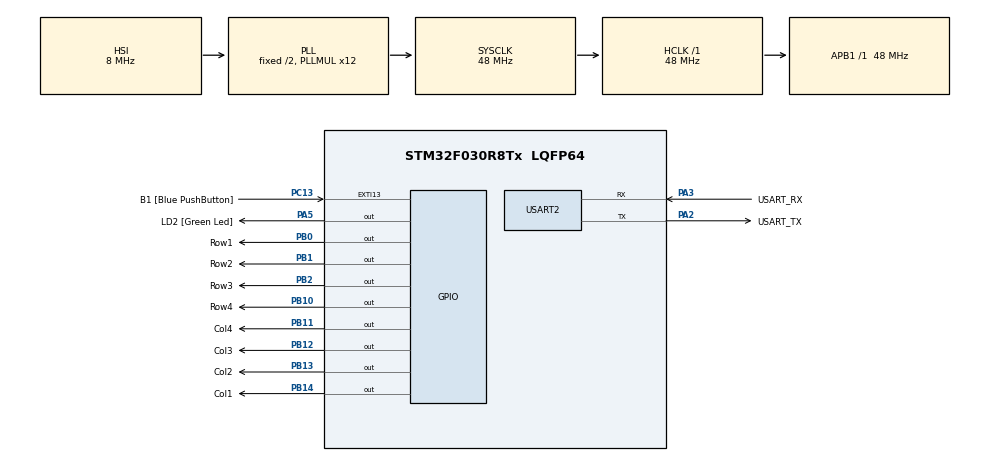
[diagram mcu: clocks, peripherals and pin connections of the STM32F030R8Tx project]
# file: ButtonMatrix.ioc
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Mcu.Family=STM32F0
Mcu.Name=STM32F030R8Tx
Mcu.Package=LQFP64
PA13.GPIO_Label=TMS
PA13.Mode=Serial_Wire
PA13.Signal=SYS_SWDIO
PA14.GPIO_Label=TCK
PA14.Mode=Serial_Wire
PA14.Signal=SYS_SWCLK
PA2.GPIO_Label=USART_TX
PA2.GPIO_Mode=GPIO_MODE_AF_PP
PA2.GPIO_PuPd=GPIO_NOPULL
PA2.GPIO_Speed=GPIO_SPEED_FREQ_LOW
PA2.Mode=Asynchronous
PA2.Signal=USART2_TX
PA3.GPIO_Label=USART_RX
PA3.GPIO_Mode=GPIO_MODE_AF_PP
PA3.GPIO_PuPd=GPIO_NOPULL
PA3.GPIO_Speed=GPIO_SPEED_FREQ_LOW
PA3.Mode=Asynchronous
PA3.Signal=USART2_RX
PA5.GPIO_Label=LD2 [Green Led]
PA5.GPIO_Mode=GPIO_MODE_OUTPUT_PP
PA5.GPIO_PuPd=GPIO_NOPULL
PA5.GPIO_Speed=GPIO_SPEED_FREQ_LOW
PA5.Signal=GPIO_Output
PB0.GPIO_Label=Row1
PB0.Signal=GPIO_Output
PB1.GPIO_Label=Row2
PB1.Signal=GPIO_Output
PB10.GPIO_Label=Row4
PB10.Signal=GPIO_Output
PB11.GPIO_Label=Col4
PB11.Signal=GPIO_Output
PB12.GPIO_Label=Col3
PB12.Signal=GPIO_Output
PB13.GPIO_Label=Col2
PB13.Signal=GPIO_Output
PB14.GPIO_Label=Col1
PB14.Signal=GPIO_Output
PB2.GPIO_Label=Row3
PB2.Signal=GPIO_Output
PC13.GPIO_Label=B1 [Blue PushButton]
PC13.GPIO_ModeDefaultEXTI=GPIO_MODE_IT_FALLING
PC13.Signal=GPXTI13
PC14-OSC32_IN.Mode=LSE-External-Oscillator
PC14-OSC32_IN.Signal=RCC_OSC32_IN
PC15-OSC32_OUT.Mode=LSE-External-Oscillator
PC15-OSC32_OUT.Signal=RCC_OSC32_OUT
PF0-OSC_IN.Mode=HSE-External-Clock-Source
PF0-OSC_IN.Signal=RCC_OSC_IN
PF1-OSC_OUT.Signal=RCC_OSC_OUT
ProjectManager.HeapSize=0x200
ProjectManager.StackSize=0x400
ProjectManager.TargetToolchain=STM32CubeIDE
RCC.AHBFreq_Value=48000000
RCC.APB1Freq_Value=48000000
RCC.APB1TimFreq_Value=48000000
RCC.HCLKFreq_Value=48000000
RCC.PLLMUL=RCC_PLL_MUL12
RCC.SYSCLKFreq_VALUE=48000000
RCC.SYSCLKSource=RCC_SYSCLKSOURCE_PLLCLK
USART2.VirtualMode-Asynchronous=VM_ASYNC
board=NUCLEO-F030R8

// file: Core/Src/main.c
/* USER CODE BEGIN Header */
/**
  ******************************************************************************
  * @file           : main.c
  * @brief          : Main program body
  ******************************************************************************
  * @attention
  *
  * <h2><center>&copy; Copyright (c) 2022 STMicroelectronics.
  * All rights reserved.</center></h2>
  *
  * This software component is licensed by ST under BSD 3-Clause license,
  * the "License"; You may not use this file except in compliance with the
  * License. You may obtain a copy of the License at:
  *                        opensource.org/licenses/BSD-3-Clause
  *
  ******************************************************************************
  */
/* USER CODE END Header */
#include "main.h"

UART_HandleTypeDef huart2;

void SystemClock_Config(void);
static void MX_GPIO_Init(void);
static void MX_USART2_UART_Init(void);

int main(void)
{

  /* MCU Configuration--------------------------------------------------------*/

  /* Reset of all peripherals, Initializes the Flash interface and the Systick. */
  HAL_Init();

  /* Configure the system clock */
  SystemClock_Config();

  /* Initialize all configured peripherals */
  MX_GPIO_Init();
  MX_USART2_UART_Init();
  /* USER CODE BEGIN 2 */
HAL_GPIO_WritePin(GPIOB, Row1_Pin|Row2_Pin|Row3_Pin|Row4_Pin, GPIO_PIN_SET);
HAL_GPIO_WritePin(GPIOB, Col1_Pin|Col2_Pin|Col3_Pin|Col4_Pin, GPIO_PIN_RESET);

uint8_t keyPressed = 0;
HAL_Delay(500);
  /* USER CODE END 2 */

  /* Infinite loop */
  /* USER CODE BEGIN WHILE */
  while (1)
  {
	keyPressed = getKey();
	HAL_Delay(100);
    /* USER CODE END WHILE */

  }
}

void SystemClock_Config(void)
{
  RCC_OscInitTypeDef RCC_OscInitStruct = {0};
  RCC_ClkInitTypeDef RCC_ClkInitStruct = {0};

  /** Initializes the RCC Oscillators according to the specified parameters
  * in the RCC_OscInitTypeDef structure.
  */
  RCC_OscInitStruct.OscillatorType = RCC_OSCILLATORTYPE_HSI;
  RCC_OscInitStruct.HSIState = RCC_HSI_ON;
  RCC_OscInitStruct.HSICalibrationValue = RCC_HSICALIBRATION_DEFAULT;
  RCC_OscInitStruct.PLL.PLLState = RCC_PLL_ON;
  RCC_OscInitStruct.PLL.PLLSource = RCC_PLLSOURCE_HSI;
  RCC_OscInitStruct.PLL.PLLMUL = RCC_PLL_MUL12;
  RCC_OscInitStruct.PLL.PREDIV = RCC_PREDIV_DIV1;
  if (HAL_RCC_OscConfig(&RCC_OscInitStruct) != HAL_OK)
  {
    Error_Handler();
  }
  /** Initializes the CPU, AHB and APB buses clocks
  */
  RCC_ClkInitStruct.ClockType = RCC_CLOCKTYPE_HCLK|RCC_CLOCKTYPE_SYSCLK
                              |RCC_CLOCKTYPE_PCLK1;
  RCC_ClkInitStruct.SYSCLKSource = RCC_SYSCLKSOURCE_PLLCLK;
  RCC_ClkInitStruct.AHBCLKDivider = RCC_SYSCLK_DIV1;
  RCC_ClkInitStruct.APB1CLKDivider = RCC_HCLK_DIV1;

  if (HAL_RCC_ClockConfig(&RCC_ClkInitStruct, FLASH_LATENCY_1) != HAL_OK)
  {
    Error_Handler();
  }
}

static void MX_USART2_UART_Init(void)
{

  huart2.Instance = USART2;
  huart2.Init.BaudRate = 38400;
  huart2.Init.WordLength = UART_WORDLENGTH_8B;
  huart2.Init.StopBits = UART_STOPBITS_1;
  huart2.Init.Parity = UART_PARITY_NONE;
  huart2.Init.Mode = UART_MODE_TX_RX;
  huart2.Init.HwFlowCtl = UART_HWCONTROL_NONE;
  huart2.Init.OverSampling = UART_OVERSAMPLING_16;
  huart2.Init.OneBitSampling = UART_ONE_BIT_SAMPLE_DISABLE;
  huart2.AdvancedInit.AdvFeatureInit = UART_ADVFEATURE_NO_INIT;
  if (HAL_UART_Init(&huart2) != HAL_OK)
  {
    Error_Handler();
  }

}

static void MX_GPIO_Init(void)
{
  GPIO_InitTypeDef GPIO_InitStruct = {0};

  /* GPIO Ports Clock Enable */
  __HAL_RCC_GPIOC_CLK_ENABLE();
  __HAL_RCC_GPIOF_CLK_ENABLE();
  __HAL_RCC_GPIOA_CLK_ENABLE();
  __HAL_RCC_GPIOB_CLK_ENABLE();

  /*Configure GPIO pin Output Level */
  HAL_GPIO_WritePin(LD2_GPIO_Port, LD2_Pin, GPIO_PIN_RESET);

  /*Configure GPIO pin Output Level */
  HAL_GPIO_WritePin(GPIOB, Row1_Pin|Row2_Pin|Row3_Pin|Row4_Pin
                          |Col4_Pin|Col3_Pin|Col2_Pin|Col1_Pin, GPIO_PIN_RESET);

  /*Configure GPIO pin : B1_Pin */
  GPIO_InitStruct.Pin = B1_Pin;
  GPIO_InitStruct.Mode = GPIO_MODE_IT_FALLING;
  GPIO_InitStruct.Pull = GPIO_NOPULL;
  HAL_GPIO_Init(B1_GPIO_Port, &GPIO_InitStruct);

  /*Configure GPIO pin : LD2_Pin */
  GPIO_InitStruct.Pin = LD2_Pin;
  GPIO_InitStruct.Mode = GPIO_MODE_OUTPUT_PP;
  GPIO_InitStruct.Pull = GPIO_NOPULL;
  GPIO_InitStruct.Speed = GPIO_SPEED_FREQ_LOW;
  HAL_GPIO_Init(LD2_GPIO_Port, &GPIO_InitStruct);

  /*Configure GPIO pins : Row1_Pin Row2_Pin Row3_Pin Row4_Pin
                           Col4_Pin Col3_Pin Col2_Pin Col1_Pin */
  GPIO_InitStruct.Pin = Row1_Pin|Row2_Pin|Row3_Pin|Row4_Pin
                          |Col4_Pin|Col3_Pin|Col2_Pin|Col1_Pin;
  GPIO_InitStruct.Mode = GPIO_MODE_OUTPUT_PP;
  GPIO_InitStruct.Pull = GPIO_NOPULL;
  GPIO_InitStruct.Speed = GPIO_SPEED_FREQ_LOW;
  HAL_GPIO_Init(GPIOB, &GPIO_InitStruct);

}

/* USER CODE BEGIN 4 */

uint8_t checkCol(uin8_t pin)
{
	uint8_t temp;

	HAL_GPIO_WritePin(GPIOB, Col1_Pin|Col2_Pin|Col3_Pin|Col4_Pin, GPIO_PIN_SET);

	HAL_GPIO_WritePin(GPIOB, Col1_Pin, GPIO_PIN_RESET);
	if(HAL_GPIO_ReadPin(GPIOB, pin) == GPIO_PIN_RESET)
		temp = 1;

	HAL_GPIO_WritePin(GPIOB, Col1_Pin, GPIO_PIN_SET);
	HAL_GPIO_WritePin(GPIOB, Col2_Pin, GPIO_PIN_RESET);
		if(HAL_GPIO_ReadPin(GPIOB, pin) == GPIO_PIN_RESET)
			temp = 2;

	HAL_GPIO_WritePin(GPIOB, Col2_Pin, GPIO_PIN_SET);
		HAL_GPIO_WritePin(GPIOB, Col3_Pin, GPIO_PIN_RESET);
			if(HAL_GPIO_ReadPin(GPIOB, pin) == GPIO_PIN_RESET)
				temp = 3;

	HAL_GPIO_WritePin(GPIOB, Col3_Pin, GPIO_PIN_SET);
		HAL_GPIO_WritePin(GPIOB, Col4_Pin, GPIO_PIN_RESET);
			if(HAL_GPIO_ReadPin(GPIOB, pin) == GPIO_PIN_RESET)
				temp = 4;

	HAL_GPIO_WritePin(GPIOB, Col1_Pin|Col2_Pin|Col3_Pin|Col4_Pin, GPIO_PIN_RESET);

	return temp;

}

uint8_t getKey()
{
	uint8_t column;

	if(HAL_GPIO_ReadPin(GPIOB, Row1_Pin) == GPIO_PIN_RESET)
	{
		column = checkCol(Row1_Pin);
		return column;
	}
	if(HAL_GPIO_ReadPin(GPIOB, Row2_Pin) == GPIO_PIN_RESET)
		{
			column = checkCol(Row2_Pin);
			return 4 + column;
		}
	if(HAL_GPIO_ReadPin(GPIOB, Row3_Pin) == GPIO_PIN_RESET)
		{
			column = checkCol(Row3_Pin);
			return 8 + column;
		}
	if(HAL_GPIO_ReadPin(GPIOB, Row4_Pin) == GPIO_PIN_RESET)
		{
			column = checkCol(Row4_Pin);
			return 12 + column;
		}
}

/* USER CODE END 4 */

void Error_Handler(void)
{
}

/************************ (C) COPYRIGHT STMicroelectronics *****END OF FILE****/
